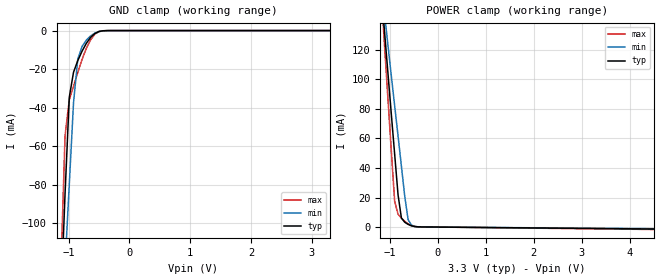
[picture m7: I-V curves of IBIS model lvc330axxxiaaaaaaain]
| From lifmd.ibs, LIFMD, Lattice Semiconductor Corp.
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|   Model lvc330axxxiaaaaaaain
[Model] lvc330axxxiaaaaaaain
Model_type Input
Polarity   Non-Inverting
Vinl =  0.800V
Vinh =  2.000V
C_comp   5.000pF   4.000pF   5.500pF
[Temperature Range]   25.000   0.125k   -40.000
[Voltage Range]   3.300V   3.140V   3.470V
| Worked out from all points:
|   GND clamp passes 1 mA (typ) near -0.54 V on its own axis
|   POWER clamp passes 1 mA (typ) near -0.56 V on its own axis
[GND_clamp]
|Voltage   I(typ)   I(min)   I(max)
-3.3V     -1.952A    -1.519A    -2.427A
-1.13V    -142mA     -164.6mA   -125.6mA
-1.06V    -84.84mA   -122.1mA   -54.71mA
-990mV    -34.57mA   -79.78mA   -35.86mA
-920mV    -21.56mA   -37.29mA   -28.84mA
-850mV    -15.58mA   -14.77mA   -21.67mA
-780mV    -10.69mA   -8.258mA   -14.98mA
-640mV    -3.549mA   -2.798mA   -4.8mA
-570mV    -1.511mA   -1.328mA   -1.856mA
-500mV    -467.6uA   -484.9uA   -473.3uA
-360mV    -12.93uA   -23.94uA   -8.743uA
3.3V      0A         0A         0A
[POWER_clamp]
|Voltage   I(typ)   I(min)   I(max)
-3.3V     1.153A     923.9mA    1.395A
-1.18V    159.7mA    164.8mA    158.1mA
-1.11V    131.7mA    143.8mA    122.2mA
-1.04V    104mA      123mA      86.66mA
-900mV    49.13mA    82mA       17.35mA
-830mV    21.96mA    61.81mA    8.795mA
-760mV    6.145mA    41.32mA    6.089mA
-690mV    3.258mA    20.86mA    3.879mA
-620mV    1.818mA    4.989mA    2.139mA
-550mV    856.3uA    1.358mA    942.2uA
-270mV    80.02uA    68.71uA    98.5uA
6.6V      -1.936mA   -1.612mA   -2.389mA
